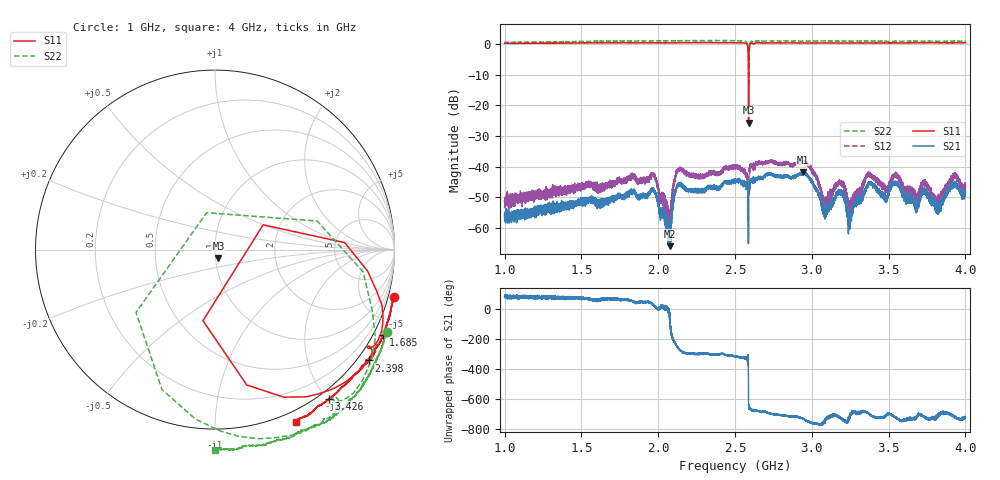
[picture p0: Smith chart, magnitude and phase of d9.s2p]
!Agilent Technologies,N5230C,SG49000117,A.08.50.07
!Agilent N5230C: A.08.50.07
!Date: Monday, May 20, 2024 20:10:08
!Correction: S11(Full 2 Port(1,2))
!S21(Full 2 Port(1,2))
!S12(Full 2 Port(1,2))
!S22(Full 2 Port(1,2))
!S2P File: Measurements: S11, S21, S12, S22:
# Hz S  MA  R 50
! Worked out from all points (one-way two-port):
!   20001 points, 1 GHz to 4 GHz, reference 50 ohm
!   highest |S21| = -41.73 dB at 2.944 GHz (marker M1); lowest = -65.9 dB at 2.078 GHz (marker M2)
!   lowest |S11| = -25.6 dB at 2.588 GHz (marker M3), VSWR 1.11, Z = 51.7 - j5.05 ohm
!   |S11| at or under -10 dB: 2.587568 GHz to 2.589297 GHz (1.73 MHz wide, 0.0668 % of centre)
!   |S22| runs from -13.8 to 1.2 dB; largest |S21 - S12| = 0.0077
!   S11 on the Smith chart (normalised r, x): 1 GHz: -0.85, -7.52; 1.685 GHz: -0.46, -4.14; 2.398 GHz: -0.29, -3.08; 3.426 GHz: -0.11, -2.02; 4 GHz: -0.10, -1.58
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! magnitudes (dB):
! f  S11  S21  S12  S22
! 1 GHz  0.3  -55.9  -51.5  0.5
! 1.5 GHz  0.4  -51.3  -46.4  0.8
! 1.685 GHz  0.4  -50.5  -44.9  0.9
! 1.964 GHz  0.5  -47.4  -42.0  1.0
! 2 GHz  0.4  -52.2  -48.1  1.0
! 2.078 GHz  0.4  -65.9  -56.5  1.1
! 2.133 GHz  0.5  -45.9  -40.5  1.1
! 2.398 GHz  0.5  -46.5  -42.0  1.1
! 2.5 GHz  0.4  -44.4  -39.9  1.1
! 2.588 GHz  -25.6  -47.6  -48.2  -10.0
! 2.944 GHz  0.4  -41.7  -38.5  1.0
! 3 GHz  0.4  -44.7  -41.3  1.0
! 3.083 GHz  0.4  -53.0  -51.4  1.1
! 3.185 GHz  0.4  -49.0  -45.8  1.0
! 3.246 GHz  0.4  -59.2  -53.7  1.0
! 3.365 GHz  0.4  -46.2  -42.6  1.0
! 3.426 GHz  0.4  -47.5  -43.8  1.0
! 3.5 GHz  0.4  -48.5  -47.0  0.9
! 3.735 GHz  0.5  -48.9  -45.1  1.0
! 3.82 GHz  0.5  -52.3  -51.8  0.9
! 3.927 GHz  0.4  -45.7  -43.1  1.0
! 4 GHz  0.5  -48.3  -45.7  1.0
